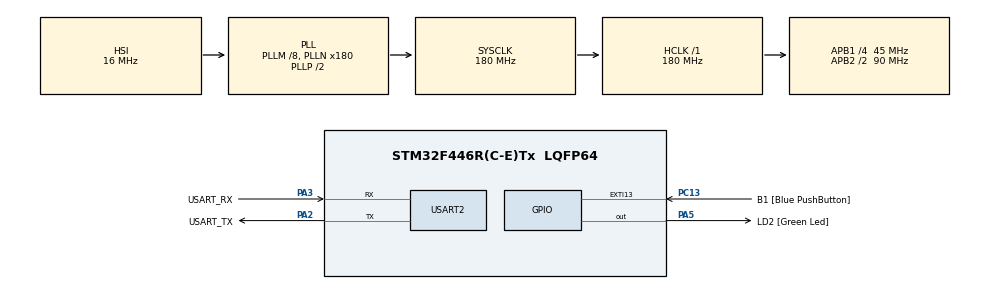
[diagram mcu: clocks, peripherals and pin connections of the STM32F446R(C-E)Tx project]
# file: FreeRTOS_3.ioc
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Dma.Request0=USART2_TX
Dma.Request1=USART2_RX
Dma.USART2_RX.1.Direction=DMA_PERIPH_TO_MEMORY
Dma.USART2_RX.1.FIFOMode=DMA_FIFOMODE_DISABLE
Dma.USART2_RX.1.Instance=DMA1_Stream5
Dma.USART2_RX.1.MemDataAlignment=DMA_MDATAALIGN_BYTE
Dma.USART2_RX.1.MemInc=DMA_MINC_ENABLE
Dma.USART2_RX.1.Mode=DMA_NORMAL
Dma.USART2_RX.1.PeriphDataAlignment=DMA_PDATAALIGN_BYTE
Dma.USART2_RX.1.PeriphInc=DMA_PINC_DISABLE
Dma.USART2_RX.1.Priority=DMA_PRIORITY_LOW
Dma.USART2_TX.0.Direction=DMA_MEMORY_TO_PERIPH
Dma.USART2_TX.0.FIFOMode=DMA_FIFOMODE_DISABLE
Dma.USART2_TX.0.Instance=DMA1_Stream6
Dma.USART2_TX.0.MemDataAlignment=DMA_MDATAALIGN_BYTE
Dma.USART2_TX.0.MemInc=DMA_MINC_ENABLE
Dma.USART2_TX.0.Mode=DMA_NORMAL
Dma.USART2_TX.0.PeriphDataAlignment=DMA_PDATAALIGN_BYTE
Dma.USART2_TX.0.PeriphInc=DMA_PINC_DISABLE
Dma.USART2_TX.0.Priority=DMA_PRIORITY_LOW
FREERTOS.BinarySemaphores01=sendUart2Semaphore,Dynamic,NULL;receiveUart2Semaphore,Dynamic,NULL
FREERTOS.INCLUDE_xSemaphoreGetMutexHolder=0
FREERTOS.Tasks01=echoTask,40,256,echoTaskFunction,Default,NULL,Dynamic,NULL,NULL;ledTask,24,128,ledTaskFunction,Default,NULL,Dynamic,NULL,NULL
FREERTOS.configUSE_NEWLIB_REENTRANT=1
Mcu.Family=STM32F4
Mcu.Name=STM32F446R(C-E)Tx
Mcu.Package=LQFP64
Mcu.UserConstants=TEXT_SIZE,100
NVIC.DMA1_Stream5_IRQn=true\:5\:0\:false\:false\:true\:true\:false\:true\:true
NVIC.DMA1_Stream6_IRQn=true\:5\:0\:false\:false\:true\:true\:false\:true\:true
NVIC.EXTI15_10_IRQn=true\:5\:0\:false\:false\:true\:true\:true\:true\:true
NVIC.PriorityGroup=NVIC_PRIORITYGROUP_4
NVIC.TIM6_DAC_IRQn=true\:15\:0\:false\:false\:true\:false\:false\:true\:true
NVIC.TimeBase=TIM6_DAC_IRQn
NVIC.TimeBaseIP=TIM6
NVIC.USART2_IRQn=true\:5\:0\:false\:false\:true\:true\:true\:true\:true
PA13.GPIO_Label=TMS
PA13.Mode=Serial_Wire
PA13.Signal=SYS_JTMS-SWDIO
PA14.GPIO_Label=TCK
PA14.Mode=Serial_Wire
PA14.Signal=SYS_JTCK-SWCLK
PA2.GPIO_Label=USART_TX
PA2.Mode=Asynchronous
PA2.Signal=USART2_TX
PA3.GPIO_Label=USART_RX
PA3.Mode=Asynchronous
PA3.Signal=USART2_RX
PA5.GPIO_Label=LD2 [Green Led]
PA5.Signal=GPIO_Output
PB3.GPIO_Label=SWO
PB3.Signal=SYS_JTDO-SWO
PC13.GPIO_Label=B1 [Blue PushButton]
PC13.GPIO_ModeDefaultEXTI=GPIO_MODE_IT_FALLING
PC13.Signal=GPXTI13
PC14-OSC32_IN.Mode=LSE-External-Oscillator
PC14-OSC32_IN.Signal=RCC_OSC32_IN
PC15-OSC32_OUT.Mode=LSE-External-Oscillator
PC15-OSC32_OUT.Signal=RCC_OSC32_OUT
PH0-OSC_IN.Mode=HSE-External-Oscillator
PH0-OSC_IN.Signal=RCC_OSC_IN
PH1-OSC_OUT.Mode=HSE-External-Oscillator
PH1-OSC_OUT.Signal=RCC_OSC_OUT
ProjectManager.HeapSize=0x200
ProjectManager.StackSize=0x400
ProjectManager.TargetToolchain=STM32CubeIDE
RCC.48MHZClocksFreq_Value=84000000
RCC.AHBFreq_Value=180000000
RCC.APB1CLKDivider=RCC_HCLK_DIV4
RCC.APB1Freq_Value=45000000
RCC.APB1TimFreq_Value=90000000
RCC.APB2CLKDivider=RCC_HCLK_DIV2
RCC.APB2Freq_Value=90000000
RCC.APB2TimFreq_Value=180000000
RCC.CortexFreq_Value=180000000
RCC.FLatency-AdvancedSettings=FLASH_LATENCY_5
RCC.HCLKFreq_Value=180000000
RCC.HSE_VALUE=8000000
RCC.HSI_VALUE=16000000
RCC.PLLM=8
RCC.PLLN=180
RCC.SYSCLKFreq_VALUE=180000000
RCC.SYSCLKSource=RCC_SYSCLKSOURCE_PLLCLK
RCC.USBFreq_Value=180000000
RCC.VCOOutputFreq_Value=360000000
USART2.VirtualMode=VM_ASYNC
VP_FREERTOS_VS_CMSIS_V2.Mode=CMSIS_V2
VP_SYS_VS_tim6.Mode=TIM6
board=NUCLEO-F446RE

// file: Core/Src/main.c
/* USER CODE BEGIN Header */
/**
  ******************************************************************************
  * @file           : main.c
  * @brief          : Main program body
  ******************************************************************************
  * @attention
  *
  * Copyright (c) 2023 STMicroelectronics.
  * All rights reserved.
  *
  * This software is licensed under terms that can be found in the LICENSE file
  * in the root directory of this software component.
  * If no LICENSE file comes with this software, it is provided AS-IS.
  *
  ******************************************************************************
  */
/* USER CODE END Header */
#include "main.h"
#include "cmsis_os.h"

/* USER CODE BEGIN Includes */
#include <stdio.h>
#include <string.h>
#include <semphr.h>
/* USER CODE END Includes */

UART_HandleTypeDef huart2;
DMA_HandleTypeDef hdma_usart2_tx;
DMA_HandleTypeDef hdma_usart2_rx;

/* Definitions for echoTask */
osThreadId_t echoTaskHandle;
const osThreadAttr_t echoTask_attributes = {
  .name = "echoTask",
  .stack_size = 256 * 4,
  .priority = (osPriority_t) osPriorityHigh,
};
/* Definitions for ledTask */
osThreadId_t ledTaskHandle;
const osThreadAttr_t ledTask_attributes = {
  .name = "ledTask",
  .stack_size = 128 * 4,
  .priority = (osPriority_t) osPriorityNormal,
};
/* Definitions for sendUart2Semaphore */
osSemaphoreId_t sendUart2SemaphoreHandle;
const osSemaphoreAttr_t sendUart2Semaphore_attributes = {
  .name = "sendUart2Semaphore"
};
/* Definitions for receiveUart2Semaphore */
osSemaphoreId_t receiveUart2SemaphoreHandle;
const osSemaphoreAttr_t receiveUart2Semaphore_attributes = {
  .name = "receiveUart2Semaphore"
};
/* USER CODE BEGIN PV */
SemaphoreHandle_t buttonSemaphoreHandle;
/* USER CODE END PV */

void SystemClock_Config(void);
static void MX_GPIO_Init(void);
static void MX_DMA_Init(void);
static void MX_USART2_UART_Init(void);
void echoTaskFunction(void *argument);
void ledTaskFunction(void *argument);

int main(void)
{

  /* MCU Configuration--------------------------------------------------------*/

  /* Reset of all peripherals, Initializes the Flash interface and the Systick. */
  HAL_Init();

  /* Configure the system clock */
  SystemClock_Config();

  /* Initialize all configured peripherals */
  MX_GPIO_Init();
  MX_DMA_Init();
  MX_USART2_UART_Init();

  /* Init scheduler */
  osKernelInitialize();

  /* Create the semaphores(s) */
  /* creation of sendUart2Semaphore */
  sendUart2SemaphoreHandle = osSemaphoreNew(1, 1, &sendUart2Semaphore_attributes);

  /* creation of receiveUart2Semaphore */
  receiveUart2SemaphoreHandle = osSemaphoreNew(1, 1, &receiveUart2Semaphore_attributes);

  /* USER CODE BEGIN RTOS_SEMAPHORES */
  buttonSemaphoreHandle = xSemaphoreCreateCounting(10, 0);
  /* USER CODE END RTOS_SEMAPHORES */

  /* Create the thread(s) */
  /* creation of echoTask */
  echoTaskHandle = osThreadNew(echoTaskFunction, NULL, &echoTask_attributes);

  /* creation of ledTask */
  ledTaskHandle = osThreadNew(ledTaskFunction, NULL, &ledTask_attributes);

  /* Start scheduler */
  osKernelStart();

  /* We should never get here as control is now taken by the scheduler */
  /* Infinite loop */
  while (1)
  {

  }
}

void SystemClock_Config(void)
{
  RCC_OscInitTypeDef RCC_OscInitStruct = {0};
  RCC_ClkInitTypeDef RCC_ClkInitStruct = {0};

  /** Configure the main internal regulator output voltage
  */
  __HAL_RCC_PWR_CLK_ENABLE();
  __HAL_PWR_VOLTAGESCALING_CONFIG(PWR_REGULATOR_VOLTAGE_SCALE1);

  /** Initializes the RCC Oscillators according to the specified parameters
  * in the RCC_OscInitTypeDef structure.
  */
  RCC_OscInitStruct.OscillatorType = RCC_OSCILLATORTYPE_HSI;
  RCC_OscInitStruct.HSIState = RCC_HSI_ON;
  RCC_OscInitStruct.HSICalibrationValue = RCC_HSICALIBRATION_DEFAULT;
  RCC_OscInitStruct.PLL.PLLState = RCC_PLL_ON;
  RCC_OscInitStruct.PLL.PLLSource = RCC_PLLSOURCE_HSI;
  RCC_OscInitStruct.PLL.PLLM = 8;
  RCC_OscInitStruct.PLL.PLLN = 180;
  RCC_OscInitStruct.PLL.PLLP = RCC_PLLP_DIV2;
  RCC_OscInitStruct.PLL.PLLQ = 2;
  RCC_OscInitStruct.PLL.PLLR = 2;
  if (HAL_RCC_OscConfig(&RCC_OscInitStruct) != HAL_OK)
  {
    Error_Handler();
  }

  /** Activate the Over-Drive mode
  */
  if (HAL_PWREx_EnableOverDrive() != HAL_OK)
  {
    Error_Handler();
  }

  /** Initializes the CPU, AHB and APB buses clocks
  */
  RCC_ClkInitStruct.ClockType = RCC_CLOCKTYPE_HCLK|RCC_CLOCKTYPE_SYSCLK
                              |RCC_CLOCKTYPE_PCLK1|RCC_CLOCKTYPE_PCLK2;
  RCC_ClkInitStruct.SYSCLKSource = RCC_SYSCLKSOURCE_PLLCLK;
  RCC_ClkInitStruct.AHBCLKDivider = RCC_SYSCLK_DIV1;
  RCC_ClkInitStruct.APB1CLKDivider = RCC_HCLK_DIV4;
  RCC_ClkInitStruct.APB2CLKDivider = RCC_HCLK_DIV2;

  if (HAL_RCC_ClockConfig(&RCC_ClkInitStruct, FLASH_LATENCY_5) != HAL_OK)
  {
    Error_Handler();
  }
}

static void MX_USART2_UART_Init(void)
{

  huart2.Instance = USART2;
  huart2.Init.BaudRate = 115200;
  huart2.Init.WordLength = UART_WORDLENGTH_8B;
  huart2.Init.StopBits = UART_STOPBITS_1;
  huart2.Init.Parity = UART_PARITY_NONE;
  huart2.Init.Mode = UART_MODE_TX_RX;
  huart2.Init.HwFlowCtl = UART_HWCONTROL_NONE;
  huart2.Init.OverSampling = UART_OVERSAMPLING_16;
  if (HAL_UART_Init(&huart2) != HAL_OK)
  {
    Error_Handler();
  }

}

static void MX_DMA_Init(void)
{

  /* DMA controller clock enable */
  __HAL_RCC_DMA1_CLK_ENABLE();

  /* DMA interrupt init */
  /* DMA1_Stream5_IRQn interrupt configuration */
  HAL_NVIC_SetPriority(DMA1_Stream5_IRQn, 5, 0);
  HAL_NVIC_EnableIRQ(DMA1_Stream5_IRQn);
  /* DMA1_Stream6_IRQn interrupt configuration */
  HAL_NVIC_SetPriority(DMA1_Stream6_IRQn, 5, 0);
  HAL_NVIC_EnableIRQ(DMA1_Stream6_IRQn);

}

static void MX_GPIO_Init(void)
{
  GPIO_InitTypeDef GPIO_InitStruct = {0};

  /* GPIO Ports Clock Enable */
  __HAL_RCC_GPIOC_CLK_ENABLE();
  __HAL_RCC_GPIOH_CLK_ENABLE();
  __HAL_RCC_GPIOA_CLK_ENABLE();
  __HAL_RCC_GPIOB_CLK_ENABLE();

  /*Configure GPIO pin Output Level */
  HAL_GPIO_WritePin(LD2_GPIO_Port, LD2_Pin, GPIO_PIN_RESET);

  /*Configure GPIO pin : B1_Pin */
  GPIO_InitStruct.Pin = B1_Pin;
  GPIO_InitStruct.Mode = GPIO_MODE_IT_FALLING;
  GPIO_InitStruct.Pull = GPIO_NOPULL;
  HAL_GPIO_Init(B1_GPIO_Port, &GPIO_InitStruct);

  /*Configure GPIO pin : LD2_Pin */
  GPIO_InitStruct.Pin = LD2_Pin;
  GPIO_InitStruct.Mode = GPIO_MODE_OUTPUT_PP;
  GPIO_InitStruct.Pull = GPIO_NOPULL;
  GPIO_InitStruct.Speed = GPIO_SPEED_FREQ_LOW;
  HAL_GPIO_Init(LD2_GPIO_Port, &GPIO_InitStruct);

  /* EXTI interrupt init*/
  HAL_NVIC_SetPriority(EXTI15_10_IRQn, 5, 0);
  HAL_NVIC_EnableIRQ(EXTI15_10_IRQn);

}

/* USER CODE BEGIN 4 */

// Blue push-button ISR
void HAL_GPIO_EXTI_Callback(uint16_t GPIO_Pin) {

	// Check pin and give semaphore
	if (GPIO_Pin == B1_Pin) {
		BaseType_t xYieldRequired = pdFALSE;
		BaseType_t status = pdFALSE;

		status = xSemaphoreGiveFromISR(buttonSemaphoreHandle, &xYieldRequired);
		if (status == pdTRUE) {
			portYIELD_FROM_ISR(xYieldRequired);
		}
	}
}

//UART transmission complete ISR
void HAL_UART_TxCpltCallback(UART_HandleTypeDef *husart) {

	//Check UART and give semaphore
	if (husart->Instance == USART2) {
		BaseType_t status = pdFALSE;
		BaseType_t xYieldRequired = pdFALSE;
		status = xSemaphoreGiveFromISR(sendUart2SemaphoreHandle, &xYieldRequired);
		if (status == pdTRUE) {
			portYIELD_FROM_ISR(xYieldRequired);
		}
	}
}

//UART receive complete ISR
void HAL_UART_RxCpltCallback(UART_HandleTypeDef *husart) {

	BaseType_t status = pdFALSE;
	BaseType_t xYieldRequired = pdFALSE;

	//Check UART and give semaphore
	if (husart->Instance == USART2) {
		status = xSemaphoreGiveFromISR(receiveUart2SemaphoreHandle, &xYieldRequired);
		if (status == pdTRUE) {
			portYIELD_FROM_ISR(xYieldRequired);
		}
	}
}

/* USER CODE END 4 */

void echoTaskFunction(void *argument)
{
  /* USER CODE BEGIN 5 */

	static char cRxChar = 0;
	char xTxChar[] = {0, '\n'};
	BaseType_t xStatus = pdFALSE;

	// Take semaphore at the start of execution
	xSemaphoreTake(receiveUart2SemaphoreHandle, portMAX_DELAY);

	// Start next DMA receive transfer (non-blocking)
	HAL_UART_Receive_DMA(&huart2, (uint8_t *)&cRxChar, (uint16_t)sizeof(cRxChar));

  /* Infinite loop */
  for(;;)
  {
  	// Binary semaphore given in ISR
  	xStatus = xSemaphoreTake(receiveUart2SemaphoreHandle, pdMS_TO_TICKS(1000));

  	if (pdTRUE == xStatus) {

  		// Save character for transmission
  		xTxChar[0] = cRxChar;

  		// Start next DMA receive transfer (non-blocking)
  		HAL_UART_Receive_DMA(&huart2, (uint8_t *)&cRxChar, (uint16_t)sizeof(cRxChar));

    	// Wait for previous transmission to complete
    	xStatus = xSemaphoreTake(sendUart2SemaphoreHandle, pdMS_TO_TICKS(500));

    	// Send next transmission (using DMA)
      if (pdTRUE == xStatus) {
        HAL_UART_Transmit_DMA(&huart2, (uint8_t *)xTxChar, (xTxChar[0] == '\r') ? 2 : 1);
      }
  	}
  }
  /* USER CODE END 5 */
}

void ledTaskFunction(void *argument)
{
  /* USER CODE BEGIN ledTaskFunction */
  for(;;)
  {
    if (pdTRUE == xSemaphoreTake(buttonSemaphoreHandle, pdMS_TO_TICKS(1000))) {
    	HAL_GPIO_WritePin(LD2_GPIO_Port, LD2_Pin, GPIO_PIN_SET);
    	vTaskDelay(pdMS_TO_TICKS(1000));
    	HAL_GPIO_WritePin(LD2_GPIO_Port, LD2_Pin, GPIO_PIN_RESET);
    	vTaskDelay(pdMS_TO_TICKS(1000));
    }
  }
  /* USER CODE END ledTaskFunction */
}

void HAL_TIM_PeriodElapsedCallback(TIM_HandleTypeDef *htim)
{
  if (htim->Instance == TIM6) {
    HAL_IncTick();
  }
}

void Error_Handler(void)
{
  __disable_irq();
  while (1)
  {
  }
}
